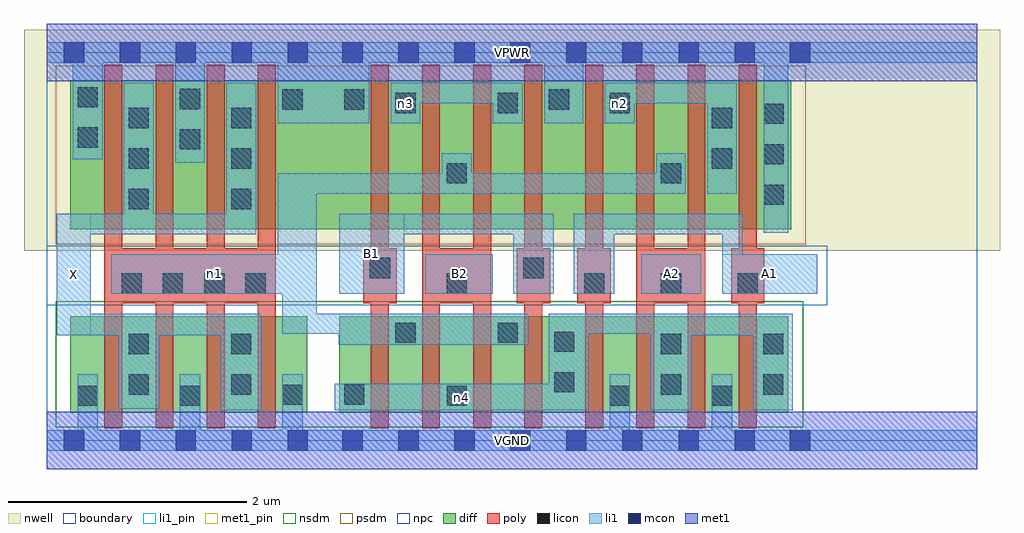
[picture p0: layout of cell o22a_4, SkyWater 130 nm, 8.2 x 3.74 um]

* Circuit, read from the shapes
.subckt o22a_4 A1 A2 B1 B2 VGND VPWR X n1 n2 n3 n4
XM1 X n1 VGND VSUBS sky130_fd_pr__nfet_01v8 w=0.81 l=0.15 m=4
XM2 n1 B1 n4 VSUBS sky130_fd_pr__nfet_01v8 w=0.81 l=0.15 m=2
XM3 n4 B2 n1 VSUBS sky130_fd_pr__nfet_01v8 w=0.81 l=0.15 m=2
XM4 VGND A1 n4 VSUBS sky130_fd_pr__nfet_01v8 w=0.81 l=0.15 m=2
XM5 n4 A2 VGND VSUBS sky130_fd_pr__nfet_01v8 w=0.81 l=0.15 m=2
XM6 X n1 VPWR n5 sky130_fd_pr__pfet_01v8 w=1.25 l=0.15 m=4
XM7 n3 B1 VPWR n5 sky130_fd_pr__pfet_01v8 w=1.25 l=0.15 m=2
XM8 n1 B2 n3 n5 sky130_fd_pr__pfet_01v8 w=1.25 l=0.15 m=2
XM9 n2 A1 VPWR n5 sky130_fd_pr__pfet_01v8 w=1.25 l=0.15 m=2
XM10 n1 A2 n2 n5 sky130_fd_pr__pfet_01v8 w=1.25 l=0.15 m=2
.ends

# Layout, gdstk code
import gdstk
lib = gdstk.Library(unit=1e-6, precision=1e-09)
def R(c, l, rs):  # rectangles x0, y0, x1, y1
    for r in rs: c.add(gdstk.rectangle(r[:2], r[2:], *l))
def A(c, l, x, y, w, h, nx, ny, dx, dy):  # array of equal rectangles
    R(c, l, [(x+i*dx, y+j*dy, x+i*dx+w, y+j*dy+h) for i in range(nx) for j in range(ny)])
nwell = (64, 20)
diff = (65, 20)
poly = (66, 20)
licon = (66, 44)
li1_pin = (67, 16)
li1 = (67, 20)
mcon = (67, 44)
met1_pin = (68, 16)
met1 = (68, 20)
nsdm = (93, 44)
psdm = (94, 20)
npc = (95, 20)
boundary = (235, 4)

o22a_4 = lib.new_cell('o22a_4')
R(o22a_4, nwell, [(-0.19,1.595,8.01,3.45), (0,1.595,7.82,3.45)])
R(o22a_4, diff, [(0.2,0.235,2.19,1.045), (2.46,0.235,6.23,1.045), (0.2,1.775,6.255,3.025)])
A(o22a_4, poly, 0.485, 0.105, 0.15, 3.05, 4, 1, 0.43, 0)
A(o22a_4, poly, 2.725, 0.105, 0.15, 3.05, 4, 1, 0.43, 0)
A(o22a_4, poly, 4.525, 0.105, 0.15, 3.05, 4, 1, 0.43, 0)
R(o22a_4, poly, [(0.485,1.155,1.925,1.615), (2.66,1.155,2.94,1.615), (3.155,1.155,3.735,1.615), (3.95,1.155,4.23,1.615), (4.46,1.155,4.74,1.615), (4.955,1.155,5.535,1.615), (5.75,1.155,6.03,1.615)])
A(o22a_4, licon, 4.515, 1.235, 0.17, 0.17, 3, 1, 0.645, 0)
A(o22a_4, licon, 0.69, 1.945, 0.17, 0.17, 1, 3, 0, 0.34)
A(o22a_4, licon, 1.55, 1.945, 0.17, 0.17, 1, 3, 0, 0.34)
A(o22a_4, licon, 6.025, 1.98, 0.17, 0.17, 1, 3, 0, 0.34)
R(o22a_4, licon, [(0.26,0.29,0.43,0.46), (1.12,0.29,1.29,0.46), (3.36,0.29,3.53,0.46), (4.73,0.29,4.9,0.46), (5.59,0.29,5.76,0.46), (1.98,0.3,2.15,0.47), (2.5,0.3,2.67,0.47), (0.69,0.385,0.86,0.555), (1.55,0.385,1.72,0.555), (5.16,0.385,5.33,0.555), (6.02,0.385,6.19,0.555), (4.265,0.405,4.435,0.575), (0.69,0.725,0.86,0.895), (1.55,0.725,1.72,0.895), (5.16,0.725,5.33,0.895), (6.02,0.725,6.19,0.895), (4.265,0.745,4.435,0.915), (2.93,0.82,3.1,0.99), (3.79,0.82,3.96,0.99), (0.63,1.235,0.8,1.405), (0.975,1.235,1.145,1.405), (1.325,1.235,1.495,1.405), (1.67,1.235,1.84,1.405), (3.36,1.235,3.53,1.405), (2.715,1.365,2.885,1.535), (4.005,1.365,4.175,1.535), (3.36,2.16,3.53,2.33), (5.16,2.16,5.33,2.33), (5.59,2.285,5.76,2.455), (1.12,2.445,1.29,2.615), (0.26,2.46,0.43,2.63), (5.59,2.625,5.76,2.795), (2.93,2.75,3.1,2.92), (3.79,2.75,3.96,2.92), (4.73,2.75,4.9,2.92), (1.98,2.78,2.15,2.95), (2.5,2.78,2.67,2.95), (4.22,2.78,4.39,2.95), (1.12,2.785,1.29,2.955), (0.26,2.8,0.43,2.97)])
R(o22a_4, li1_pin, [(0.085,0.885,0.37,1.905), (2.46,1.235,3.005,1.905), (3.18,1.235,3.75,1.565), (4.995,1.235,5.5,1.565), (5.675,1.235,6.475,1.565)])
A(o22a_4, li1, 0.26, -0.085, 0.17, 0.64, 3, 1, 0.86, 0)
R(o22a_4, li1, [(0,-0.085,7.82,0.085), (4.73,-0.085,4.9,0.555), (5.59,-0.085,5.76,0.555), (1.465,0.255,1.805,1.065), (2.42,0.255,4.555,0.475), (4.22,0.255,4.555,1.065), (5.075,0.255,5.415,1.065), (5.935,0.255,6.27,1.065), (0.605,0.265,0.945,1.065), (2.455,0.805,4.045,1.065), (0.085,0.885,1.805,1.065), (0.085,0.885,0.37,1.905), (5.075,0.885,6.27,1.065), (1.98,0.895,2.27,2.245), (1.98,0.895,4.045,1.065), (4.22,0.895,6.27,1.065), (0.545,1.235,2.27,1.565), (1.94,1.235,2.27,2.245), (2.46,1.235,3.005,1.905), (3.18,1.235,3.75,1.565), (3.92,1.235,4.26,1.905), (4.43,1.235,4.77,1.905), (4.995,1.235,5.5,1.565), (5.675,1.235,6.475,1.565), (5.675,1.235,5.85,1.905), (0.085,1.735,1.76,1.905), (0.65,1.735,0.9,3.005), (1.51,1.735,1.76,3.005), (2.46,1.735,4.26,1.905), (4.43,1.735,5.85,1.905), (6.025,1.745,6.23,3.345), (1.94,2.075,5.37,2.245), (3.32,2.075,3.57,2.415), (5.12,2.075,5.37,2.415), (5.55,2.075,5.8,3.005), (1.08,2.335,1.33,3.345), (0.22,2.365,0.47,3.345), (1.94,2.665,2.71,3.345), (2.89,2.665,3.14,3.005), (3.75,2.665,4,3.005), (4.18,2.665,4.51,3.345), (4.69,2.665,4.94,3.005), (2.89,2.835,4,3.005), (4.69,2.835,5.8,3.005), (0,3.175,7.82,3.345)])
A(o22a_4, mcon, 0.145, -0.085, 0.17, 0.17, 5, 2, 0.47, 3.26)
A(o22a_4, mcon, 2.485, -0.085, 0.17, 0.17, 6, 2, 0.47, 3.26)
R(o22a_4, mcon, [(5.31,-0.085,5.48,0.085), (5.78,-0.085,5.95,0.085), (6.245,-0.085,6.415,0.085), (5.31,3.175,5.48,3.345), (5.78,3.175,5.95,3.345), (6.245,3.175,6.415,3.345)])
R(o22a_4, met1_pin, [(0,-0.24,7.82,0.24), (0,3.02,7.82,3.5)])
R(o22a_4, met1, [(0,-0.24,7.82,0.24), (0,3.02,7.82,3.5)])
R(o22a_4, nsdm, [(0.075,0.11,6.355,1.17)])
R(o22a_4, psdm, [(0.075,1.65,6.38,3.15)])
R(o22a_4, npc, [(0,1.135,6.56,1.635)])
R(o22a_4, boundary, [(0,0,7.82,3.26)])
o22a_4.add(gdstk.Label('A1', (6.075,1.4), layer=67, texttype=5))
o22a_4.add(gdstk.Label('A2', (5.247,1.4), layer=67, texttype=5))
o22a_4.add(gdstk.Label('B1', (2.732,1.57), layer=67, texttype=5))
o22a_4.add(gdstk.Label('B2', (3.465,1.4), layer=67, texttype=5))
o22a_4.add(gdstk.Label('X', (0.227,1.395), layer=67, texttype=5))
o22a_4.add(gdstk.Label('n4', (3.487,0.365), layer=67, texttype=5))
o22a_4.add(gdstk.Label('n1', (1.407,1.4), layer=67, texttype=5))
o22a_4.add(gdstk.Label('n3', (3.015,2.835), layer=67, texttype=5))
o22a_4.add(gdstk.Label('n2', (4.815,2.835), layer=67, texttype=5))
o22a_4.add(gdstk.Label('VPWR', (3.91,3.26), layer=68, texttype=5))
o22a_4.add(gdstk.Label('VGND', (3.91,0), layer=68, texttype=5))
o22a_4.add(gdstk.Label('A1', (6.075,1.4), layer=67, texttype=16))
o22a_4.add(gdstk.Label('A2', (5.247,1.4), layer=67, texttype=16))
o22a_4.add(gdstk.Label('B1', (2.732,1.57), layer=67, texttype=16))
o22a_4.add(gdstk.Label('B2', (3.465,1.4), layer=67, texttype=16))
o22a_4.add(gdstk.Label('X', (0.227,1.395), layer=67, texttype=16))
o22a_4.add(gdstk.Label('VPWR', (3.91,3.26), layer=68, texttype=16))
o22a_4.add(gdstk.Label('VGND', (3.91,0), layer=68, texttype=16))

lib.write_gds('o22a_4.gds')
